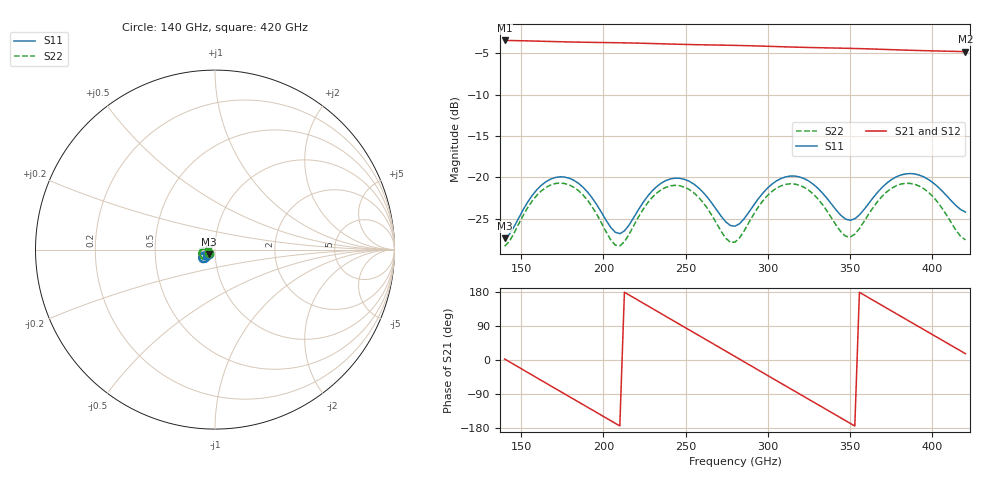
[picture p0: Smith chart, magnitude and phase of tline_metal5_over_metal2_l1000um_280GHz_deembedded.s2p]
! Created with skrf 2.0.1 (http://scikit-rf.org).
# GHz S DB R 50.0
!freq dBS11 angS11 dBS21 angS21 dBS12 angS12 dBS22 angS22
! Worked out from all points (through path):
!   101 points, 140 GHz to 420 GHz, reference 50 ohm
!   highest |S21| = -3.44 dB at 140 GHz (marker M1); lowest = -4.8 dB at 420 GHz (marker M2)
!   group delay of S21, straight-line fit = 7 ps
!   lowest |S11| = -27.4 dB at 140 GHz (marker M3), VSWR 1.09, Z = 46.7 - j2.53 ohm
!   |S11| at or under -10 dB: start of sweep to end of sweep
!   |S22| runs from -28.3 to -20.7 dB; largest |S21 - S12| = 1.1e-13
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140  -27.36 -140.9  -3.44 2.7  -3.44 2.7  -28.32 -147.7
151.2  -23.94 -120.3  -3.48 -25.7  -3.48 -25.7  -24.63 -128.2
165.2  -20.52 -131.9  -3.55 -61.1  -3.55 -61.1  -21.21 -142.0
176.4  -19.96 -148.2  -3.61 -89.3  -3.61 -89.3  -20.74 -159.6
187.6  -21.18 -162.9  -3.66 -117.5  -3.66 -117.5  -22.12 -175.7
201.6  -25.16 -165.2  -3.70 -152.8  -3.70 -152.8  -26.56 -178.5
212.8  -26.48 -137.1  -3.73 178.9  -3.73 178.9  -27.79 -146.6
224  -23.08 -124.9  -3.78 150.5  -3.78 150.5  -23.91 -136.1
235.2  -20.69 -133.7  -3.85 122.2  -3.85 122.2  -21.49 -147.4
254.8  -20.79 -158.0  -3.94 72.8  -3.94 72.8  -21.84 -175.1
268.8  -23.92 -163.6  -4.00 37.6  -4.00 37.6  -25.57 178.1
280  -25.91 -143.3  -4.04 9.3  -4.04 9.3  -27.83 -156.3
291.2  -23.41 -126.0  -4.10 -19.1  -4.10 -19.1  -24.51 -138.7
305.2  -20.43 -133.5  -4.18 -54.4  -4.18 -54.4  -21.31 -150.0
316.4  -19.85 -146.5  -4.25 -82.6  -4.25 -82.6  -20.81 -165.5
327.6  -20.84 -158.4  -4.30 -110.7  -4.30 -110.7  -22.03 -179.5
341.6  -23.98 -159.2  -4.36 -146.0  -4.36 -146.0  -25.83 179.0
352.8  -25.01 -137.8  -4.41 -174.3  -4.41 -174.3  -26.88 -154.6
375.2  -20.26 -131.8  -4.56 129.2  -4.56 129.2  -21.31 -153.1
386.4  -19.54 -143.7  -4.63 101.1  -4.63 101.1  -20.73 -168.0
397.6  -20.26 -155.0  -4.69 73.0  -4.69 73.0  -21.81 177.8
420  -24.19 -147.7  -4.79 16.7  -4.79 16.7  -27.55 -169.6
